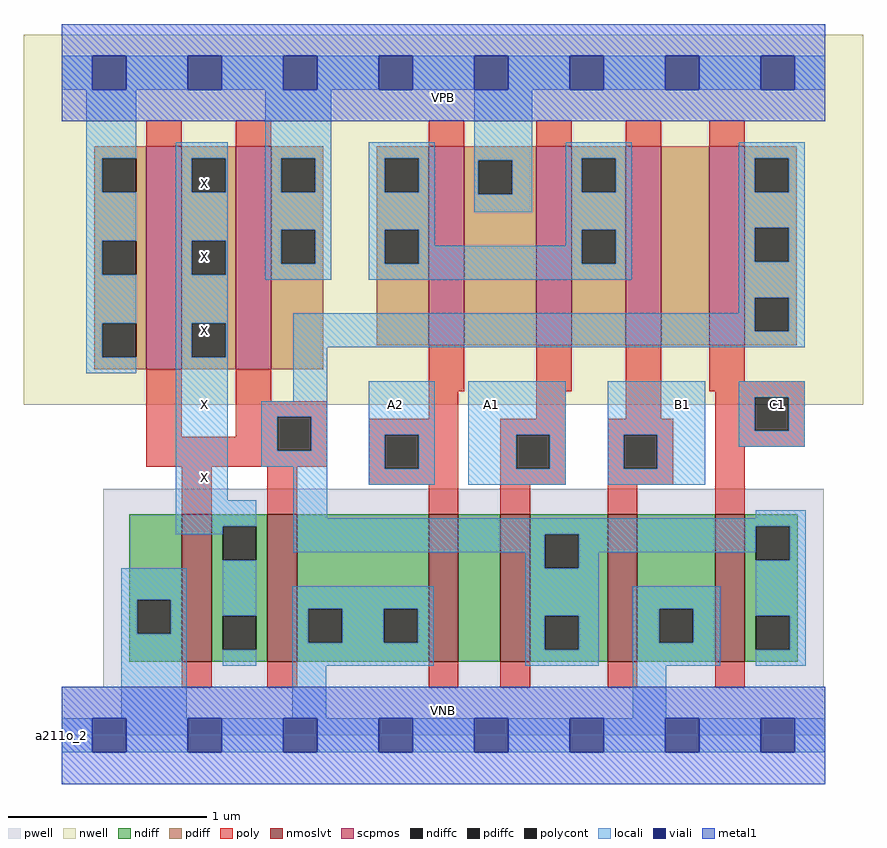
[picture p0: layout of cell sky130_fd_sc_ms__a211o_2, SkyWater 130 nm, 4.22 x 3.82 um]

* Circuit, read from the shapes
.subckt sky130_fd_sc_ms__a211o_2 A1 A2 B1 C1 VGND VNB VPB VPWR X
XM1 X n1 VGND VNB sky130_fd_pr__nfet_01v8_lvt w=0.74 l=0.15 m=2
XM2 n2 A2 VGND VNB sky130_fd_pr__nfet_01v8_lvt w=0.74 l=0.15
XM3 n1 A1 n2 VNB sky130_fd_pr__nfet_01v8_lvt w=0.74 l=0.15
XM4 VGND B1 n1 VNB sky130_fd_pr__nfet_01v8_lvt w=0.74 l=0.15
XM5 n1 C1 VGND VNB sky130_fd_pr__nfet_01v8_lvt w=0.74 l=0.15
XM6 X n1 VPWR VPB sky130_fd_pr__pfet_01v8 w=1.12 l=0.18 m=2
XM7 VPWR A2 n3 VPB sky130_fd_pr__pfet_01v8 w=1 l=0.18
XM8 n3 A1 VPWR VPB sky130_fd_pr__pfet_01v8 w=1 l=0.18
XM9 n4 B1 n3 VPB sky130_fd_pr__pfet_01v8 w=1 l=0.18
XM10 n1 C1 n4 VPB sky130_fd_pr__pfet_01v8 w=1 l=0.18
.ends

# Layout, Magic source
magic
tech sky130A
magscale 1 2
<< nwell >>
rect -38 332 806 704
<< pwell >>
rect 42 49 766 248
rect 0 0 768 49
<< scpmos >>
rect 85 368 121 592
rect 175 368 211 592
rect 369 392 405 592
rect 477 392 513 592
rect 567 392 603 592
rect 651 392 687 592
<< nmoslvt >>
rect 121 74 151 222
rect 207 74 237 222
rect 369 74 399 222
rect 441 74 471 222
rect 549 74 579 222
rect 657 74 687 222
<< ndiff >>
rect 68 136 121 222
rect 68 102 76 136
rect 110 102 121 136
rect 68 74 121 102
rect 151 210 207 222
rect 151 176 162 210
rect 196 176 207 210
rect 151 120 207 176
rect 151 86 162 120
rect 196 86 207 120
rect 151 74 207 86
rect 237 127 369 222
rect 237 93 248 127
rect 282 93 324 127
rect 358 93 369 127
rect 237 74 369 93
rect 399 74 441 222
rect 471 202 549 222
rect 471 168 486 202
rect 520 168 549 202
rect 471 120 549 168
rect 471 86 486 120
rect 520 86 549 120
rect 471 74 549 86
rect 579 127 657 222
rect 579 93 601 127
rect 635 93 657 127
rect 579 74 657 93
rect 687 210 740 222
rect 687 176 698 210
rect 732 176 740 210
rect 687 120 740 176
rect 687 86 698 120
rect 732 86 740 120
rect 687 74 740 86
<< pdiff >>
rect 33 580 85 592
rect 33 546 41 580
rect 75 546 85 580
rect 33 497 85 546
rect 33 463 41 497
rect 75 463 85 497
rect 33 414 85 463
rect 33 380 41 414
rect 75 380 85 414
rect 33 368 85 380
rect 121 580 175 592
rect 121 546 131 580
rect 165 546 175 580
rect 121 497 175 546
rect 121 463 131 497
rect 165 463 175 497
rect 121 414 175 463
rect 121 380 131 414
rect 165 380 175 414
rect 121 368 175 380
rect 211 580 263 592
rect 211 546 221 580
rect 255 546 263 580
rect 211 508 263 546
rect 211 474 221 508
rect 255 474 263 508
rect 211 368 263 474
rect 317 580 369 592
rect 317 546 325 580
rect 359 546 369 580
rect 317 508 369 546
rect 317 474 325 508
rect 359 474 369 508
rect 317 392 369 474
rect 405 578 477 592
rect 405 544 419 578
rect 453 544 477 578
rect 405 392 477 544
rect 513 580 567 592
rect 513 546 523 580
rect 557 546 567 580
rect 513 508 567 546
rect 513 474 523 508
rect 557 474 567 508
rect 513 392 567 474
rect 603 392 651 592
rect 687 580 739 592
rect 687 546 697 580
rect 731 546 739 580
rect 687 510 739 546
rect 687 476 697 510
rect 731 476 739 510
rect 687 440 739 476
rect 687 406 697 440
rect 731 406 739 440
rect 687 392 739 406
<< ndiffc >>
rect 76 102 110 136
rect 162 176 196 210
rect 162 86 196 120
rect 248 93 282 127
rect 324 93 358 127
rect 486 168 520 202
rect 486 86 520 120
rect 601 93 635 127
rect 698 176 732 210
rect 698 86 732 120
<< pdiffc >>
rect 41 546 75 580
rect 41 463 75 497
rect 41 380 75 414
rect 131 546 165 580
rect 131 463 165 497
rect 131 380 165 414
rect 221 546 255 580
rect 221 474 255 508
rect 325 546 359 580
rect 325 474 359 508
rect 419 544 453 578
rect 523 546 557 580
rect 523 474 557 508
rect 697 546 731 580
rect 697 476 731 510
rect 697 406 731 440
<< poly >>
rect 85 592 121 618
rect 175 592 211 618
rect 369 592 405 618
rect 477 592 513 618
rect 567 592 603 618
rect 651 592 687 618
rect 85 300 121 368
rect 175 336 211 368
rect 369 346 405 392
rect 477 346 513 392
rect 175 320 267 336
rect 175 300 217 320
rect 85 286 217 300
rect 251 286 267 320
rect 369 318 399 346
rect 477 318 507 346
rect 567 318 603 392
rect 651 356 687 392
rect 651 346 747 356
rect 657 340 747 346
rect 85 270 267 286
rect 309 302 399 318
rect 121 222 151 270
rect 207 222 237 270
rect 309 268 325 302
rect 359 268 399 302
rect 309 252 399 268
rect 369 222 399 252
rect 441 302 507 318
rect 441 268 457 302
rect 491 268 507 302
rect 441 252 507 268
rect 549 302 615 318
rect 549 268 565 302
rect 599 268 615 302
rect 549 252 615 268
rect 657 306 697 340
rect 731 306 747 340
rect 657 290 747 306
rect 441 222 471 252
rect 549 222 579 252
rect 657 222 687 290
rect 121 48 151 74
rect 207 48 237 74
rect 369 48 399 74
rect 441 48 471 74
rect 549 48 579 74
rect 657 48 687 74
<< polycont >>
rect 217 286 251 320
rect 325 268 359 302
rect 457 268 491 302
rect 565 268 599 302
rect 697 306 731 340
<< locali >>
rect 0 649 31 683
rect 65 649 127 683
rect 161 649 223 683
rect 257 649 319 683
rect 353 649 415 683
rect 449 649 511 683
rect 545 649 607 683
rect 641 649 703 683
rect 737 649 768 683
rect 25 580 75 649
rect 25 546 41 580
rect 25 497 75 546
rect 25 463 41 497
rect 25 414 75 463
rect 25 380 41 414
rect 25 364 75 380
rect 115 580 167 596
rect 115 546 131 580
rect 165 546 167 580
rect 115 497 167 546
rect 115 463 131 497
rect 165 463 167 497
rect 115 414 167 463
rect 205 580 271 649
rect 205 546 221 580
rect 255 546 271 580
rect 205 508 271 546
rect 205 474 221 508
rect 255 474 271 508
rect 205 458 271 474
rect 309 580 375 596
rect 309 546 325 580
rect 359 546 375 580
rect 309 508 375 546
rect 415 578 473 649
rect 415 544 419 578
rect 453 544 473 578
rect 415 526 473 544
rect 507 580 573 596
rect 507 546 523 580
rect 557 546 573 580
rect 309 474 325 508
rect 359 492 375 508
rect 507 508 573 546
rect 507 492 523 508
rect 359 474 523 492
rect 557 474 573 508
rect 309 458 573 474
rect 681 580 747 596
rect 681 546 697 580
rect 731 546 747 580
rect 681 510 747 546
rect 681 476 697 510
rect 731 476 747 510
rect 681 440 747 476
rect 681 424 697 440
rect 115 380 131 414
rect 165 380 167 414
rect 115 236 167 380
rect 233 406 697 424
rect 731 406 747 440
rect 233 390 747 406
rect 233 336 267 390
rect 201 320 267 336
rect 201 286 217 320
rect 251 286 267 320
rect 201 270 267 286
rect 115 210 196 236
rect 115 202 162 210
rect 233 218 267 270
rect 309 302 375 356
rect 309 268 325 302
rect 359 268 375 302
rect 309 252 375 268
rect 409 302 507 356
rect 409 268 457 302
rect 491 268 507 302
rect 409 252 507 268
rect 549 302 647 356
rect 549 268 565 302
rect 599 268 647 302
rect 681 340 747 356
rect 681 306 697 340
rect 731 306 747 340
rect 681 290 747 306
rect 549 252 647 268
rect 698 218 748 226
rect 233 210 748 218
rect 233 202 698 210
rect 233 184 486 202
rect 60 136 126 168
rect 60 102 76 136
rect 110 102 126 136
rect 60 17 126 102
rect 162 120 196 176
rect 466 168 486 184
rect 520 184 698 202
rect 520 168 540 184
rect 162 70 196 86
rect 232 127 374 150
rect 232 93 248 127
rect 282 93 324 127
rect 358 93 374 127
rect 232 70 374 93
rect 466 120 540 168
rect 732 176 748 210
rect 466 86 486 120
rect 520 86 540 120
rect 466 70 540 86
rect 574 127 662 150
rect 574 93 601 127
rect 635 93 662 127
rect 574 70 662 93
rect 698 120 748 176
rect 732 86 748 120
rect 698 70 748 86
rect 232 17 266 70
rect 574 17 608 70
rect 0 -17 31 17
rect 65 -17 127 17
rect 161 -17 223 17
rect 257 -17 319 17
rect 353 -17 415 17
rect 449 -17 511 17
rect 545 -17 607 17
rect 641 -17 703 17
rect 737 -17 768 17
<< viali >>
rect 31 649 65 683
rect 127 649 161 683
rect 223 649 257 683
rect 319 649 353 683
rect 415 649 449 683
rect 511 649 545 683
rect 607 649 641 683
rect 703 649 737 683
rect 31 -17 65 17
rect 127 -17 161 17
rect 223 -17 257 17
rect 319 -17 353 17
rect 415 -17 449 17
rect 511 -17 545 17
rect 607 -17 641 17
rect 703 -17 737 17
<< metal1 >>
rect 0 683 768 715
rect 0 649 31 683
rect 65 649 127 683
rect 161 649 223 683
rect 257 649 319 683
rect 353 649 415 683
rect 449 649 511 683
rect 545 649 607 683
rect 641 649 703 683
rect 737 649 768 683
rect 0 617 768 649
rect 0 17 768 49
rect 0 -17 31 17
rect 65 -17 127 17
rect 161 -17 223 17
rect 257 -17 319 17
rect 353 -17 415 17
rect 449 -17 511 17
rect 545 -17 607 17
rect 641 -17 703 17
rect 737 -17 768 17
rect 0 -49 768 -17
<< labels >>
flabel pwell s 0 0 768 49 0 FreeSans 200 0 0 0 VNB
port 6 nsew ground bidirectional
flabel nwell s 0 617 768 666 0 FreeSans 200 0 0 0 VPB
port 7 nsew power bidirectional
rlabel comment s 0 0 0 0 4 a211o_2
flabel metal1 s 0 617 768 666 0 FreeSans 340 0 0 0 VPWR
port 8 nsew power bidirectional
flabel metal1 s 0 0 768 49 0 FreeSans 340 0 0 0 VGND
port 5 nsew ground bidirectional
flabel locali s 703 316 737 350 0 FreeSans 340 0 0 0 C1
port 4 nsew signal input
flabel locali s 607 316 641 350 0 FreeSans 340 0 0 0 B1
port 3 nsew signal input
flabel locali s 319 316 353 350 0 FreeSans 340 0 0 0 A2
port 2 nsew signal input
flabel locali s 415 316 449 350 0 FreeSans 340 0 0 0 A1
port 1 nsew signal input
flabel locali s 127 242 161 276 0 FreeSans 340 0 0 0 X
port 9 nsew signal output
flabel locali s 127 316 161 350 0 FreeSans 340 0 0 0 X
port 9 nsew signal output
flabel locali s 127 390 161 424 0 FreeSans 340 0 0 0 X
port 9 nsew signal output
flabel locali s 127 464 161 498 0 FreeSans 340 0 0 0 X
port 9 nsew signal output
flabel locali s 127 538 161 572 0 FreeSans 340 0 0 0 X
port 9 nsew signal output
<< properties >>
string LEFsite unit
string LEFclass CORE
string FIXED_BBOX 0 0 768 666
string GDS_FILE $PDKPATH/libs.ref/sky130_fd_sc_ms/gds/sky130_fd_sc_ms.gds
string LEFsymmetry X Y
string GDS_END 994400
string GDS_START 987188
<< end >>
